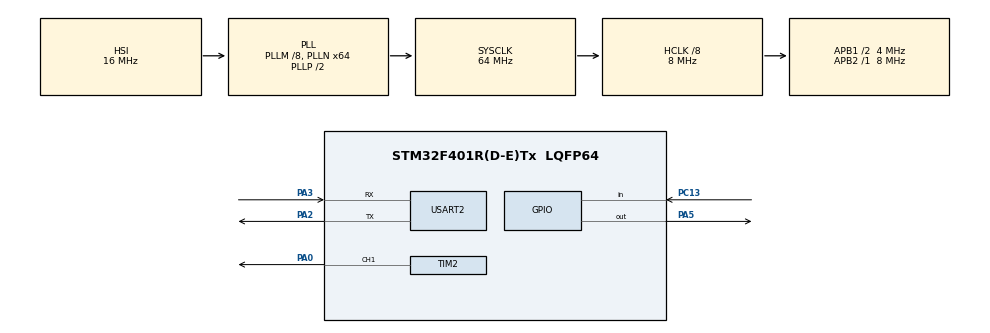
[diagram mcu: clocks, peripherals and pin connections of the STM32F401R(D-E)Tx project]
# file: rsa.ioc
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Mcu.Family=STM32F4
Mcu.Name=STM32F401R(D-E)Tx
Mcu.Package=LQFP64
NVIC.PriorityGroup=NVIC_PRIORITYGROUP_0
NVIC.TIM2_IRQn=true\:0\:0\:false\:false\:true\:true\:true
PA0-WKUP.Signal=S_TIM2_CH1_ETR
PA2.Mode=Asynchronous
PA2.Signal=USART2_TX
PA3.Mode=Asynchronous
PA3.Signal=USART2_RX
PA5.GPIO_PuPd=GPIO_PULLUP
PA5.Signal=GPIO_Output
PC13-ANTI_TAMP.Signal=GPIO_Input
ProjectManager.HeapSize=0x200
ProjectManager.StackSize=0x400
ProjectManager.TargetToolchain=Makefile
RCC.48MHZClocksFreq_Value=18285714.285714287
RCC.AHBCLKDivider=RCC_SYSCLK_DIV8
RCC.AHBFreq_Value=8000000
RCC.APB1CLKDivider=RCC_HCLK_DIV2
RCC.APB1Freq_Value=4000000
RCC.APB1TimFreq_Value=8000000
RCC.APB2Freq_Value=8000000
RCC.APB2TimFreq_Value=8000000
RCC.CortexFreq_Value=8000000
RCC.HCLKFreq_Value=8000000
RCC.HSE_VALUE=8000000
RCC.HSI_VALUE=16000000
RCC.LSE_VALUE=32768
RCC.PLLM=8
RCC.PLLN=64
RCC.PLLQ=7
RCC.SYSCLKFreq_VALUE=64000000
RCC.SYSCLKSource=RCC_SYSCLKSOURCE_PLLCLK
RCC.VCOOutputFreq_Value=128000000
SH.S_TIM2_CH1_ETR.0=TIM2_CH1,PWM Generation1 CH1
TIM2.AutoReloadPreload=TIM_AUTORELOAD_PRELOAD_ENABLE
TIM2.Channel-PWM\ Generation1\ CH1=TIM_CHANNEL_1
TIM2.Period=500
TIM2.Prescaler=8000
USART2.VirtualMode=VM_ASYNC
board=NUCLEO-F401RE

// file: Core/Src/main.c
/* USER CODE BEGIN Header */
/**
  ******************************************************************************
  * @file           : main.c
  * @brief          : Main program body
  ******************************************************************************
  * @attention
  *
  * <h2><center>&copy; Copyright (c) 2021 STMicroelectronics.
  * All rights reserved.</center></h2>
  *
  * This software component is licensed by ST under BSD 3-Clause license,
  * the "License"; You may not use this file except in compliance with the
  * License. You may obtain a copy of the License at:
  *                        opensource.org/licenses/BSD-3-Clause
  *
  ******************************************************************************
  */
/* USER CODE END Header */
#include "main.h"

TIM_HandleTypeDef htim2;

UART_HandleTypeDef huart2;

void SystemClock_Config(void);
static void MX_GPIO_Init(void);
static void MX_TIM2_Init(void);
static void MX_USART2_UART_Init(void);

/* USER CODE BEGIN 0 */
#define CMD_SIZE 3
#define HASH_SIZE 32
#define PASS_SIZE 64

#define PASSPHRASE "ronaldo"
#define PASSPHRASE_LENGTH 7

#define PUBLIC_KEY "-----BEGIN PUBLIC KEY-----\nMIGfMA0GCSqGSIb3DQEBAQUAA4GNADCBiQKBgQDpLqjDJ80vefVarmhC4L15Nbfb\npSiPCdEVMX7yZEVnXJVdWpafHDJhPwR9aK9y35Qg/dgzCeKuHHH/pbFaOk0YYqMp\n+NvyG57Cz37gxhXiBtOr2rOYKlQfvnQFam+Z9AUZLv0pVT5lR42X1QRi0XqP4X7W\nE4dLiIcD3kXqgjeFwwIDAQAB\n-----END PUBLIC KEY-----"
#define PUBLIC_KEY_LENGTH 271
#define PRIVATE_KEY "-----BEGIN RSA PRIVATE KEY-----\nMIICXgIBAAKBgQDpLqjDJ80vefVarmhC4L15NbfbpSiPCdEVMX7yZEVnXJVdWpaf\nHDJhPwR9aK9y35Qg/dgzCeKuHHH/pbFaOk0YYqMp+NvyG57Cz37gxhXiBtOr2rOY\nKlQfvnQFam+Z9AUZLv0pVT5lR42X1QRi0XqP4X7WE4dLiIcD3kXqgjeFwwIDAQAB\nAoGAUAZ61YsF0IrW6NmdH4KYlA4a/K74NerFDjRv4EkIRppQCntJ4O4g3h3t8Qop\n2E8hu5bSiWWVnXJWr0lSjegfR5zXFM7JyLTNx9yYnKuS0HnfzV1ytPw/QfsWyPP5\nGP8csRZoYYgiqIOIzL98upV+8kh5Tv4lKcjIlFsooLKYcXECQQDrr7iS7TBdGDjY\neoRfOh6BnSaRJKsDKeiGRdUv+0eyP7pFTnDQzxADGTAtcwYo9feDww+1ZbrioAHQ\ncj/m/a2RAkEA/Uevi7nNQCInHmBmKl5a/yEBfFglK5+4v85ldw7D2+qTlQ6fA/3e\nf7kqoFQ+vOiZwuhhsZmMzTBtMNgOTKdkEwJBANsWELR7yf5v+r+5O/2tcBg6dlRr\nypB5T44psiAVLLOUq9mrLhHcuVy3+GH3T52Z78jK9XpBI7Vw2d7jpWVbIRECQQDe\n0Yze+HNYA3O0povapC2bmzbKZGU27onCu9nJlsS5mLGDBVzhTxrJ9GVKrTKQUHTM\n4lDnxDT5Yqv8t2ZFC1HfAkEAlQ2jCShH68umJlzfEseIjiuhuEmHgBukCQFBZq2Z\ns475Y6eO8nxR3SsbNxZrre6VLm+4EBDwiZ6oWAg5RPpzrQ==\n-----END RSA PRIVATE KEY-----"
#define PRIVATE_KEY_LENGTH 890
/* USER CODE END 0 */

int main(void)
{

  /* MCU Configuration--------------------------------------------------------*/

  /* Reset of all peripherals, Initializes the Flash interface and the Systick. */
  HAL_Init();

  /* Configure the system clock */
  SystemClock_Config();

  /* Initialize all configured peripherals */
  MX_GPIO_Init();
  MX_TIM2_Init();
  MX_USART2_UART_Init();
  /* USER CODE BEGIN 2 */

  HAL_TIM_Base_Start_IT(&htim2);

  /* USER CODE END 2 */

  /* Infinite loop */
  while (1)
  {

    /* USER CODE BEGIN 3 */

      // Receive the 3 bytes command code
      unsigned char command[CMD_SIZE];
      HAL_UART_Receive(&huart2, command, CMD_SIZE, HAL_MAX_DELAY);

      if (!strncmp(command, "SIG", 3)) { // SIG command code handling
          // recieve the sha-256 and passphrase
          unsigned char hash[HASH_SIZE];
          unsigned char passphrase[PASS_SIZE];
          HAL_UART_Receive(&huart2, hash, HASH_SIZE, HAL_MAX_DELAY);
          HAL_UART_Receive(&huart2, passphrase, PASS_SIZE, HAL_MAX_DELAY);

          // Check passphrase
          if (!strncmp(passphrase, PASSPHRASE, PASSPHRASE_LENGTH + 1)) {
              // Correct passphrase
              HAL_UART_Transmit(&huart2, "CORRECT PASSPHRASE", 19, HAL_MAX_DELAY);
              // Send private key
              HAL_UART_Transmit(&huart2, PRIVATE_KEY, PRIVATE_KEY_LENGTH, HAL_MAX_DELAY);
              HAL_UART_Transmit(&huart2, "\0", 1, HAL_MAX_DELAY);
          } else {
              // Wrong passphrase
              HAL_UART_Transmit(&huart2, "WRONG PASSPHRASE", 21, HAL_MAX_DELAY);
          }
      } else if (!strncmp(command, "PUB", 3)) { // PUB command code handling
          // Send public key
          HAL_UART_Transmit(&huart2, PUBLIC_KEY, PUBLIC_KEY_LENGTH, HAL_MAX_DELAY);
          HAL_UART_Transmit(&huart2, "\0", 1, HAL_MAX_DELAY);
      }

  }
  /* USER CODE END 3 */
}

void SystemClock_Config(void)
{
  RCC_OscInitTypeDef RCC_OscInitStruct = {0};
  RCC_ClkInitTypeDef RCC_ClkInitStruct = {0};

  /** Configure the main internal regulator output voltage
  */
  __HAL_RCC_PWR_CLK_ENABLE();
  __HAL_PWR_VOLTAGESCALING_CONFIG(PWR_REGULATOR_VOLTAGE_SCALE2);
  /** Initializes the RCC Oscillators according to the specified parameters
  * in the RCC_OscInitTypeDef structure.
  */
  RCC_OscInitStruct.OscillatorType = RCC_OSCILLATORTYPE_HSI;
  RCC_OscInitStruct.HSIState = RCC_HSI_ON;
  RCC_OscInitStruct.HSICalibrationValue = RCC_HSICALIBRATION_DEFAULT;
  RCC_OscInitStruct.PLL.PLLState = RCC_PLL_ON;
  RCC_OscInitStruct.PLL.PLLSource = RCC_PLLSOURCE_HSI;
  RCC_OscInitStruct.PLL.PLLM = 8;
  RCC_OscInitStruct.PLL.PLLN = 64;
  RCC_OscInitStruct.PLL.PLLP = RCC_PLLP_DIV2;
  RCC_OscInitStruct.PLL.PLLQ = 7;
  if (HAL_RCC_OscConfig(&RCC_OscInitStruct) != HAL_OK)
  {
    Error_Handler();
  }
  /** Initializes the CPU, AHB and APB buses clocks
  */
  RCC_ClkInitStruct.ClockType = RCC_CLOCKTYPE_HCLK|RCC_CLOCKTYPE_SYSCLK
                              |RCC_CLOCKTYPE_PCLK1|RCC_CLOCKTYPE_PCLK2;
  RCC_ClkInitStruct.SYSCLKSource = RCC_SYSCLKSOURCE_PLLCLK;
  RCC_ClkInitStruct.AHBCLKDivider = RCC_SYSCLK_DIV8;
  RCC_ClkInitStruct.APB1CLKDivider = RCC_HCLK_DIV2;
  RCC_ClkInitStruct.APB2CLKDivider = RCC_HCLK_DIV1;

  if (HAL_RCC_ClockConfig(&RCC_ClkInitStruct, FLASH_LATENCY_0) != HAL_OK)
  {
    Error_Handler();
  }
}

static void MX_TIM2_Init(void)
{

  TIM_MasterConfigTypeDef sMasterConfig = {0};
  TIM_OC_InitTypeDef sConfigOC = {0};

  htim2.Instance = TIM2;
  htim2.Init.Prescaler = 8000;
  htim2.Init.CounterMode = TIM_COUNTERMODE_UP;
  htim2.Init.Period = 500;
  htim2.Init.ClockDivision = TIM_CLOCKDIVISION_DIV1;
  htim2.Init.AutoReloadPreload = TIM_AUTORELOAD_PRELOAD_ENABLE;
  if (HAL_TIM_PWM_Init(&htim2) != HAL_OK)
  {
    Error_Handler();
  }
  sMasterConfig.MasterOutputTrigger = TIM_TRGO_RESET;
  sMasterConfig.MasterSlaveMode = TIM_MASTERSLAVEMODE_DISABLE;
  if (HAL_TIMEx_MasterConfigSynchronization(&htim2, &sMasterConfig) != HAL_OK)
  {
    Error_Handler();
  }
  sConfigOC.OCMode = TIM_OCMODE_PWM1;
  sConfigOC.Pulse = 0;
  sConfigOC.OCPolarity = TIM_OCPOLARITY_HIGH;
  sConfigOC.OCFastMode = TIM_OCFAST_DISABLE;
  if (HAL_TIM_PWM_ConfigChannel(&htim2, &sConfigOC, TIM_CHANNEL_1) != HAL_OK)
  {
    Error_Handler();
  }
  /* USER CODE BEGIN TIM2_Init 2 */

  if(HAL_GPIO_ReadPin(GPIOC,GPIO_PIN_3)==GPIO_PIN_SET)
{
HAL_GPIO_WritePin(GPIOA,GPIO_PIN_5, GPIO_PIN_SET);
}
else
{
HAL_GPIO_WritePin(GPIOA,GPIO_PIN_5,GPIO_PIN_RESET);
}

  /* USER CODE END TIM2_Init 2 */
  HAL_TIM_MspPostInit(&htim2);

}

static void MX_USART2_UART_Init(void)
{

  huart2.Instance = USART2;
  huart2.Init.BaudRate = 115200;
  huart2.Init.WordLength = UART_WORDLENGTH_8B;
  huart2.Init.StopBits = UART_STOPBITS_1;
  huart2.Init.Parity = UART_PARITY_NONE;
  huart2.Init.Mode = UART_MODE_TX_RX;
  huart2.Init.HwFlowCtl = UART_HWCONTROL_NONE;
  huart2.Init.OverSampling = UART_OVERSAMPLING_16;
  if (HAL_UART_Init(&huart2) != HAL_OK)
  {
    Error_Handler();
  }

}

static void MX_GPIO_Init(void)
{
  GPIO_InitTypeDef GPIO_InitStruct = {0};

  /* GPIO Ports Clock Enable */
  __HAL_RCC_GPIOC_CLK_ENABLE();
  __HAL_RCC_GPIOA_CLK_ENABLE();

  /*Configure GPIO pin Output Level */
  HAL_GPIO_WritePin(GPIOA, GPIO_PIN_5, GPIO_PIN_RESET);

  /*Configure GPIO pin : PC13 */
  GPIO_InitStruct.Pin = GPIO_PIN_13;
  GPIO_InitStruct.Mode = GPIO_MODE_INPUT;
  GPIO_InitStruct.Pull = GPIO_NOPULL;
  HAL_GPIO_Init(GPIOC, &GPIO_InitStruct);

  /*Configure GPIO pin : PA5 */
  GPIO_InitStruct.Pin = GPIO_PIN_5;
  GPIO_InitStruct.Mode = GPIO_MODE_OUTPUT_PP;
  GPIO_InitStruct.Pull = GPIO_PULLUP;
  GPIO_InitStruct.Speed = GPIO_SPEED_FREQ_LOW;
  HAL_GPIO_Init(GPIOA, &GPIO_InitStruct);

}

void Error_Handler(void)
{
  __disable_irq();
  while (1)
  {
  }
}

/************************ (C) COPYRIGHT STMicroelectronics *****END OF FILE****/
